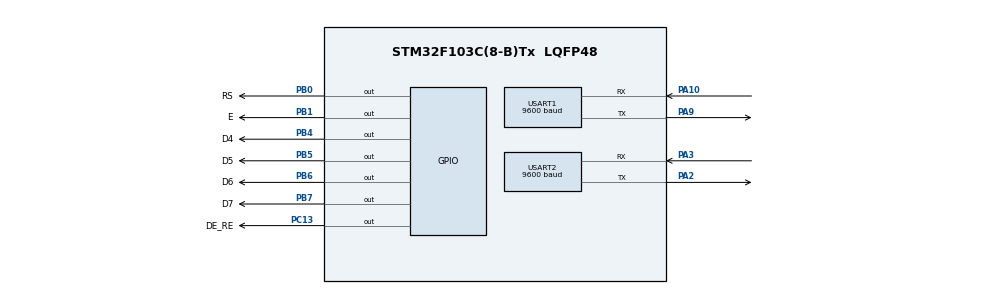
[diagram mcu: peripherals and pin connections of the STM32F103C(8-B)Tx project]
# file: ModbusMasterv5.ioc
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Mcu.Family=STM32F1
Mcu.Name=STM32F103C(8-B)Tx
Mcu.Package=LQFP48
NVIC.PriorityGroup=NVIC_PRIORITYGROUP_4
NVIC.USART1_IRQn=true\:0\:0\:false\:false\:true\:true\:true\:true
NVIC.USART2_IRQn=true\:0\:0\:false\:false\:true\:true\:true\:true
PA10.Mode=Asynchronous
PA10.Signal=USART1_RX
PA13.Mode=Serial_Wire
PA13.Signal=SYS_JTMS-SWDIO
PA14.Mode=Serial_Wire
PA14.Signal=SYS_JTCK-SWCLK
PA2.Mode=Asynchronous
PA2.Signal=USART2_TX
PA3.Mode=Asynchronous
PA3.Signal=USART2_RX
PA9.Mode=Asynchronous
PA9.Signal=USART1_TX
PB0.GPIO_Label=RS
PB0.GPIO_Speed=GPIO_SPEED_FREQ_HIGH
PB0.PinState=GPIO_PIN_RESET
PB0.Signal=GPIO_Output
PB1.GPIO_Label=E
PB1.GPIO_Speed=GPIO_SPEED_FREQ_HIGH
PB1.PinState=GPIO_PIN_RESET
PB1.Signal=GPIO_Output
PB4.GPIO_Label=D4
PB4.GPIO_Speed=GPIO_SPEED_FREQ_HIGH
PB4.PinState=GPIO_PIN_RESET
PB4.Signal=GPIO_Output
PB5.GPIO_Label=D5
PB5.GPIO_Speed=GPIO_SPEED_FREQ_HIGH
PB5.PinState=GPIO_PIN_RESET
PB5.Signal=GPIO_Output
PB6.GPIO_Label=D6
PB6.GPIO_Speed=GPIO_SPEED_FREQ_HIGH
PB6.PinState=GPIO_PIN_RESET
PB6.Signal=GPIO_Output
PB7.GPIO_Label=D7
PB7.GPIO_Speed=GPIO_SPEED_FREQ_HIGH
PB7.PinState=GPIO_PIN_RESET
PB7.Signal=GPIO_Output
PC13-TAMPER-RTC.GPIO_Label=DE_RE
PC13-TAMPER-RTC.GPIO_Speed=GPIO_SPEED_FREQ_HIGH
PC13-TAMPER-RTC.PinState=GPIO_PIN_RESET
PC13-TAMPER-RTC.Signal=GPIO_Output
ProjectManager.HeapSize=0x200
ProjectManager.StackSize=0x400
ProjectManager.TargetToolchain=MDK-ARM V5.32
RCC.APB1Freq_Value=8000000
RCC.APB2Freq_Value=8000000
USART1.BaudRate=9600
USART1.VirtualMode=VM_ASYNC
USART2.BaudRate=9600
USART2.VirtualMode=VM_ASYNC
board=custom

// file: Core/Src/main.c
/* USER CODE BEGIN Header */
/**
  ******************************************************************************
  * @file           : main.c
  * @brief          : Main program body
  ******************************************************************************
  * @attention
  *
  * Copyright (c) 2023 STMicroelectronics.
  * All rights reserved.
  *
  * This software is licensed under terms that can be found in the LICENSE file
  * in the root directory of this software component.
  * If no LICENSE file comes with this software, it is provided AS-IS.
  *
  ******************************************************************************
  */
/* USER CODE END Header */
#include "main.h"

/* USER CODE BEGIN Includes */
#include <stdio.h>
#include <stdbool.h>
#include <string.h>
#include <stdint.h>
#include "lcd16x2.h"
/* USER CODE END Includes */

/* USER CODE BEGIN PD */
#define RESPONSE_TIMEOUT 4000
#define RX_BUFFER_SIZE 256
#define MODBUS_GENERATOR 0xA001
/* USER CODE END PD */

UART_HandleTypeDef huart1;
UART_HandleTypeDef huart2;

/* USER CODE BEGIN PV */
uint8_t Rx1Buffer[RX_BUFFER_SIZE];
uint16_t Rx1Count = 0;

uint32_t requestStartTime = 0;
uint8_t isReceiving = 0;
//uint32_t LCDtime = 0;
//uint8_t LCDShow = 0;

uint8_t Rx2Buffer[RX_BUFFER_SIZE];
uint16_t Rx2Count = 0;
/* USER CODE END PV */

void SystemClock_Config(void);
static void MX_GPIO_Init(void);
static void MX_USART1_UART_Init(void);
static void MX_USART2_UART_Init(void);

/* USER CODE BEGIN 0 */
uint16_t ModbusCalcCRC(uint8_t *Frame, uint16_t LenFrame)
{
	uint16_t CntByte;
	uint16_t j;
	uint8_t bitVal;
	uint16_t CRCcalculate = 0xFFFF;
	for(CntByte=0;CntByte<LenFrame;CntByte++)
	{
		CRCcalculate ^= Frame[CntByte];
		for(j=0;j<8;j++)
		{
			bitVal = CRCcalculate & 0x0001;
			CRCcalculate = CRCcalculate >> 1;
			if(bitVal == 1)
				CRCcalculate ^= MODBUS_GENERATOR;
		}
	}
	return CRCcalculate;
}

void ResetBuffers(void)
{
	Rx1Count = 0;
	Rx2Count = 0;
	isReceiving = 0;
	memset(Rx1Buffer, 0, RX_BUFFER_SIZE);
	memset(Rx2Buffer, 0, RX_BUFFER_SIZE);
	requestStartTime = 0;
}

void CheckTimeOut(void)
{
	if (HAL_GetTick() - requestStartTime >= RESPONSE_TIMEOUT)
	{
		ResetBuffers();
		HAL_UARTEx_ReceiveToIdle_IT(&huart1, Rx1Buffer, RX_BUFFER_SIZE);
		HAL_UARTEx_ReceiveToIdle_IT(&huart2, Rx2Buffer, RX_BUFFER_SIZE);
	}
}

void HAL_UARTEx_RxEventCallback(UART_HandleTypeDef *huart, uint16_t Size)
{
	if (huart == &huart1)
	{
		Rx1Count = Size;
		requestStartTime = HAL_GetTick();
		isReceiving = 1;
		HAL_UARTEx_ReceiveToIdle_IT(&huart1, Rx1Buffer, RX_BUFFER_SIZE);
		HAL_UARTEx_ReceiveToIdle_IT(&huart2, Rx2Buffer, RX_BUFFER_SIZE);
	}
	if (huart == &huart2)
	{
		Rx2Count = Size;
		Rx1Count = 0;
		HAL_UARTEx_ReceiveToIdle_IT(&huart1, Rx1Buffer, RX_BUFFER_SIZE);
		HAL_UARTEx_ReceiveToIdle_IT(&huart2, Rx2Buffer, RX_BUFFER_SIZE);
	}
}
/* USER CODE END 0 */

int main(void)
{

  /* MCU Configuration--------------------------------------------------------*/

  /* Reset of all peripherals, Initializes the Flash interface and the Systick. */
  HAL_Init();

  /* Configure the system clock */
  SystemClock_Config();

  /* Initialize all configured peripherals */
  MX_GPIO_Init();
  MX_USART1_UART_Init();
  MX_USART2_UART_Init();
  /* USER CODE BEGIN 2 */
	lcd16x2_init_4bits(RS_GPIO_Port, RS_Pin, E_Pin, GPIOB, D4_Pin, D5_Pin, D6_Pin, D7_Pin);
	lcd16x2_clear();
	HAL_GPIO_WritePin(DE_RE_GPIO_Port, DE_RE_Pin, GPIO_PIN_RESET);
	HAL_UARTEx_ReceiveToIdle_IT(&huart1, Rx1Buffer, RX_BUFFER_SIZE);
	HAL_UARTEx_ReceiveToIdle_IT(&huart2, Rx2Buffer, RX_BUFFER_SIZE);
  /* USER CODE END 2 */

  /* Infinite loop */
  while (1)
  {
		//lcd16x2_1stLine();
		//lcd16x2_printf("Num of M: %u", Rx1Count);
		//lcd16x2_2ndLine();
		//lcd16x2_printf("Num of S: %u", Rx2Count);
		if (Rx1Count > 5)
		{
			/*HAL_GPIO_WritePin(DE_RE_GPIO_Port, DE_RE_Pin, GPIO_PIN_SET);
			HAL_Delay(20);
			HAL_UART_Transmit(&huart2, Rx1Buffer, Rx1Count, HAL_MAX_DELAY);
			HAL_GPIO_WritePin(DE_RE_GPIO_Port, DE_RE_Pin, GPIO_PIN_RESET);
			Rx1Count = 0;*/
			lcd16x2_1stLine();
		  lcd16x2_printf("Num of M: %u", Rx1Count);

			uint16_t RequestCRC;
			RequestCRC = (Rx1Buffer[Rx1Count - 1] << 8) | Rx1Buffer[Rx1Count - 2];
			uint16_t CRCCalc = ModbusCalcCRC(Rx1Buffer, Rx1Count - 2);
			if (RequestCRC == CRCCalc)
			{
				HAL_GPIO_WritePin(DE_RE_GPIO_Port, DE_RE_Pin, GPIO_PIN_SET);
				HAL_Delay(20);
				HAL_UART_Transmit(&huart2, Rx1Buffer, Rx1Count, HAL_MAX_DELAY);
				HAL_GPIO_WritePin(DE_RE_GPIO_Port, DE_RE_Pin, GPIO_PIN_RESET);
				Rx1Count = 0;
			}
			else ResetBuffers();
		}
		if (isReceiving == 1)
		{
			CheckTimeOut();
		}
		if (Rx2Count > 5 && isReceiving == 1)
		{
			lcd16x2_2ndLine();
			lcd16x2_printf("Num of S: %u", Rx2Count);
			uint16_t RequestCRC;
			RequestCRC = (Rx2Buffer[Rx2Count - 1] << 8) | Rx2Buffer[Rx2Count - 2];
			uint16_t CRCCalc = ModbusCalcCRC(Rx2Buffer, Rx2Count - 2);
			if (RequestCRC == CRCCalc)
			{
				HAL_UART_Transmit(&huart1, Rx2Buffer, Rx2Count, HAL_MAX_DELAY);
				ResetBuffers();
			}
			/*HAL_UART_Transmit(&huart1, Rx2Buffer, Rx2Count, HAL_MAX_DELAY);
			ResetBuffers();*/
			else ResetBuffers();
		}
		if (Rx2Count > 0 && isReceiving == 0)
		{
			Rx2Count = 0;
			memset(Rx2Buffer, 0, RX_BUFFER_SIZE);
		}
  }
}

void SystemClock_Config(void)
{
  RCC_OscInitTypeDef RCC_OscInitStruct = {0};
  RCC_ClkInitTypeDef RCC_ClkInitStruct = {0};

  /** Initializes the RCC Oscillators according to the specified parameters
  * in the RCC_OscInitTypeDef structure.
  */
  RCC_OscInitStruct.OscillatorType = RCC_OSCILLATORTYPE_HSI;
  RCC_OscInitStruct.HSIState = RCC_HSI_ON;
  RCC_OscInitStruct.HSICalibrationValue = RCC_HSICALIBRATION_DEFAULT;
  RCC_OscInitStruct.PLL.PLLState = RCC_PLL_NONE;
  if (HAL_RCC_OscConfig(&RCC_OscInitStruct) != HAL_OK)
  {
    Error_Handler();
  }

  /** Initializes the CPU, AHB and APB buses clocks
  */
  RCC_ClkInitStruct.ClockType = RCC_CLOCKTYPE_HCLK|RCC_CLOCKTYPE_SYSCLK
                              |RCC_CLOCKTYPE_PCLK1|RCC_CLOCKTYPE_PCLK2;
  RCC_ClkInitStruct.SYSCLKSource = RCC_SYSCLKSOURCE_HSI;
  RCC_ClkInitStruct.AHBCLKDivider = RCC_SYSCLK_DIV1;
  RCC_ClkInitStruct.APB1CLKDivider = RCC_HCLK_DIV1;
  RCC_ClkInitStruct.APB2CLKDivider = RCC_HCLK_DIV1;

  if (HAL_RCC_ClockConfig(&RCC_ClkInitStruct, FLASH_LATENCY_0) != HAL_OK)
  {
    Error_Handler();
  }
}

static void MX_USART1_UART_Init(void)
{

  huart1.Instance = USART1;
  huart1.Init.BaudRate = 9600;
  huart1.Init.WordLength = UART_WORDLENGTH_8B;
  huart1.Init.StopBits = UART_STOPBITS_1;
  huart1.Init.Parity = UART_PARITY_NONE;
  huart1.Init.Mode = UART_MODE_TX_RX;
  huart1.Init.HwFlowCtl = UART_HWCONTROL_NONE;
  huart1.Init.OverSampling = UART_OVERSAMPLING_16;
  if (HAL_UART_Init(&huart1) != HAL_OK)
  {
    Error_Handler();
  }

}

static void MX_USART2_UART_Init(void)
{

  huart2.Instance = USART2;
  huart2.Init.BaudRate = 9600;
  huart2.Init.WordLength = UART_WORDLENGTH_8B;
  huart2.Init.StopBits = UART_STOPBITS_1;
  huart2.Init.Parity = UART_PARITY_NONE;
  huart2.Init.Mode = UART_MODE_TX_RX;
  huart2.Init.HwFlowCtl = UART_HWCONTROL_NONE;
  huart2.Init.OverSampling = UART_OVERSAMPLING_16;
  if (HAL_UART_Init(&huart2) != HAL_OK)
  {
    Error_Handler();
  }

}

static void MX_GPIO_Init(void)
{
  GPIO_InitTypeDef GPIO_InitStruct = {0};

  /* GPIO Ports Clock Enable */
  __HAL_RCC_GPIOC_CLK_ENABLE();
  __HAL_RCC_GPIOA_CLK_ENABLE();
  __HAL_RCC_GPIOB_CLK_ENABLE();

  /*Configure GPIO pin Output Level */
  HAL_GPIO_WritePin(DE_RE_GPIO_Port, DE_RE_Pin, GPIO_PIN_RESET);

  /*Configure GPIO pin Output Level */
  HAL_GPIO_WritePin(GPIOB, RS_Pin|E_Pin|D4_Pin|D5_Pin
                          |D6_Pin|D7_Pin, GPIO_PIN_RESET);

  /*Configure GPIO pin : DE_RE_Pin */
  GPIO_InitStruct.Pin = DE_RE_Pin;
  GPIO_InitStruct.Mode = GPIO_MODE_OUTPUT_PP;
  GPIO_InitStruct.Pull = GPIO_NOPULL;
  GPIO_InitStruct.Speed = GPIO_SPEED_FREQ_HIGH;
  HAL_GPIO_Init(DE_RE_GPIO_Port, &GPIO_InitStruct);

  /*Configure GPIO pins : RS_Pin E_Pin D4_Pin D5_Pin
                           D6_Pin D7_Pin */
  GPIO_InitStruct.Pin = RS_Pin|E_Pin|D4_Pin|D5_Pin
                          |D6_Pin|D7_Pin;
  GPIO_InitStruct.Mode = GPIO_MODE_OUTPUT_PP;
  GPIO_InitStruct.Pull = GPIO_NOPULL;
  GPIO_InitStruct.Speed = GPIO_SPEED_FREQ_HIGH;
  HAL_GPIO_Init(GPIOB, &GPIO_InitStruct);

}

void Error_Handler(void)
{
  __disable_irq();
  while (1)
  {
  }
}
